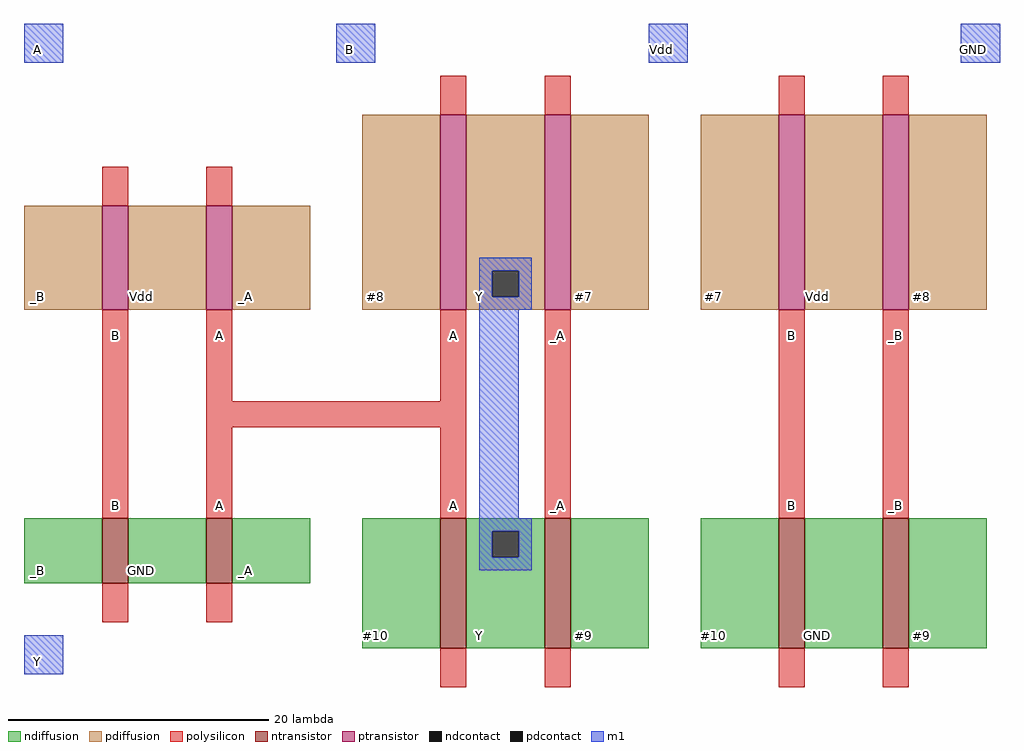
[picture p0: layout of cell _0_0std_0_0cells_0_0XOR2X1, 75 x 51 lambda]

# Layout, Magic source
magic
tech TSMC180
<< ndiffusion >>
rect 6 17 12 22
rect 14 17 20 22
rect 22 17 28 22
rect 32 12 38 22
rect 40 21 46 22
rect 40 19 42 21
rect 44 19 46 21
rect 40 12 46 19
rect 48 12 54 22
rect 58 12 64 22
rect 66 12 72 22
rect 74 12 80 22
<< ndcontact >>
rect 42 19 44 21
<< ntransistor >>
rect 12 17 14 22
rect 20 17 22 22
rect 38 12 40 22
rect 46 12 48 22
rect 64 12 66 22
rect 72 12 74 22
<< pdiffusion >>
rect 6 38 12 46
rect 14 38 20 46
rect 22 38 28 46
rect 32 38 38 53
rect 40 41 46 53
rect 40 39 42 41
rect 44 39 46 41
rect 40 38 46 39
rect 48 38 54 53
rect 58 38 64 53
rect 66 38 72 53
rect 74 38 80 53
<< pdcontact >>
rect 42 39 44 41
<< ptransistor >>
rect 12 38 14 46
rect 20 38 22 46
rect 38 38 40 53
rect 46 38 48 53
rect 64 38 66 53
rect 72 38 74 53
<< polysilicon >>
rect 38 53 40 56
rect 46 53 48 56
rect 64 53 66 56
rect 72 53 74 56
rect 12 46 14 49
rect 20 46 22 49
rect 12 22 14 38
rect 20 31 22 38
rect 38 31 40 38
rect 20 29 40 31
rect 20 22 22 29
rect 38 22 40 29
rect 46 22 48 38
rect 64 22 66 38
rect 72 22 74 38
rect 12 14 14 17
rect 20 14 22 17
rect 38 9 40 12
rect 46 9 48 12
rect 64 9 66 12
rect 72 9 74 12
<< m1 >>
rect 6 57 9 60
rect 30 57 33 60
rect 54 57 57 60
rect 78 57 81 60
rect 41 41 45 42
rect 41 39 42 41
rect 44 39 45 41
rect 41 38 45 39
rect 41 22 44 38
rect 41 21 45 22
rect 41 19 42 21
rect 44 19 45 21
rect 41 18 45 19
rect 6 10 9 13
<< labels >>
rlabel ndiffusion 23 18 23 18 3 _A
rlabel pdiffusion 23 39 23 39 3 _A
rlabel polysilicon 21 23 21 23 3 A
rlabel polysilicon 21 36 21 36 3 A
rlabel ndiffusion 15 18 15 18 3 GND
rlabel pdiffusion 15 39 15 39 3 Vdd
rlabel polysilicon 13 23 13 23 3 B
rlabel polysilicon 13 36 13 36 3 B
rlabel ndiffusion 7 18 7 18 3 _B
rlabel pdiffusion 7 39 7 39 3 _B
rlabel ndiffusion 49 13 49 13 3 #9
rlabel pdiffusion 49 39 49 39 3 #7
rlabel polysilicon 47 23 47 23 3 _A
rlabel polysilicon 47 36 47 36 3 _A
rlabel ndiffusion 41 13 41 13 3 Y
rlabel pdiffusion 41 39 41 39 3 Y
rlabel polysilicon 39 23 39 23 3 A
rlabel polysilicon 39 36 39 36 3 A
rlabel ndiffusion 33 13 33 13 3 #10
rlabel pdiffusion 33 39 33 39 3 #8
rlabel ndiffusion 75 13 75 13 3 #9
rlabel pdiffusion 75 39 75 39 3 #8
rlabel polysilicon 73 23 73 23 3 _B
rlabel polysilicon 73 36 73 36 3 _B
rlabel ndiffusion 67 13 67 13 3 GND
rlabel pdiffusion 67 39 67 39 3 Vdd
rlabel polysilicon 65 23 65 23 3 B
rlabel polysilicon 65 36 65 36 3 B
rlabel ndiffusion 59 13 59 13 3 #10
rlabel pdiffusion 59 39 59 39 3 #7
rlabel m1 79 58 79 58 3 GND
port 1 e
rlabel m1 55 58 55 58 3 Vdd
port 2 e
rlabel m1 31 58 31 58 3 B
port 3 e
rlabel m1 7 11 7 11 3 Y
port 4 e
rlabel m1 7 58 7 58 3 A
port 5 e
<< end >>
